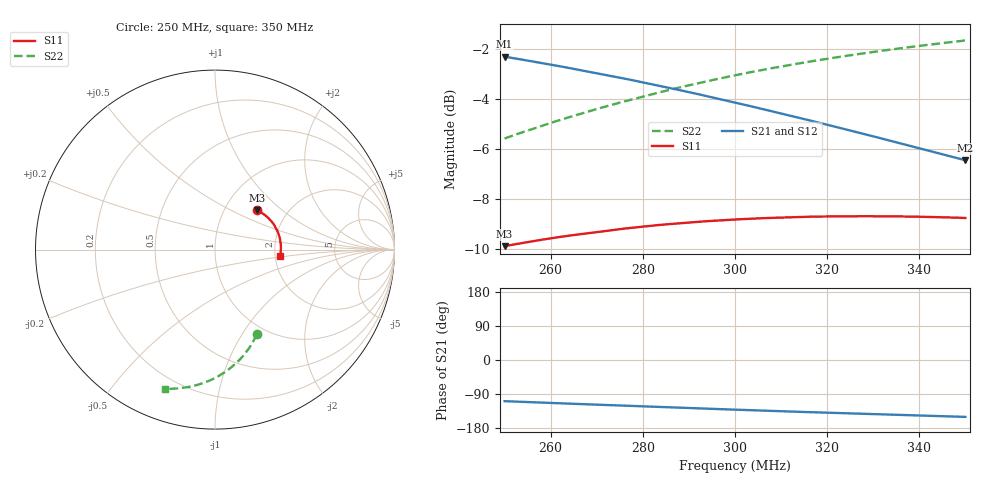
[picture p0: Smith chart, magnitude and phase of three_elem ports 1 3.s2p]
#  HZ  S  DB  R  50.00
! Rohde & Schwarz Vector Network Analyzer
! Rohde-Schwarz,ZNL3-2Port,1323001203101687,1.37.1.9-20.11.2.22
! Created: UTC 11/14/2023, 4:00:15 PM
! freq[Hz]  db:S11  ang:S11  db:S21  ang:S21  db:S12  ang:S12  db:S22  ang:S22
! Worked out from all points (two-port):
!   801 points, 250 MHz to 350 MHz, reference 50 ohm
!   highest |S21| = -2.33 dB at 250 MHz (marker M1); lowest = -6.5 dB at 350 MHz (marker M2)
!   |S21| within 3 dB of the highest: start of sweep to 326.2 MHz
!   lowest |S11| = -9.9 dB at 250 MHz (marker M3), VSWR 1.94, Z = 70.6 + j34.5 ohm
!   |S11| at or under -10 dB: nowhere
!   |S22| runs from -5.6 to -1.7 dB; largest |S21 - S12| = 0.0057
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2.5e8  -9.88 43.2  -2.33 -108.6  -2.32 -109.0  -5.59 -63.8
2.505e8  -9.87 43.0  -2.34 -108.9  -2.34 -109.2  -5.56 -64.1
2.5375e8  -9.76 41.2  -2.44 -110.4  -2.44 -110.7  -5.35 -65.7
2.58125e8  -9.63 38.8  -2.58 -112.4  -2.58 -112.8  -5.08 -67.8
2.62125e8  -9.51 36.6  -2.71 -114.3  -2.71 -114.6  -4.85 -69.8
2.6675e8  -9.40 34.2  -2.87 -116.4  -2.87 -116.8  -4.59 -72.1
2.71125e8  -9.29 31.9  -3.02 -118.4  -3.02 -118.8  -4.36 -74.2
2.75625e8  -9.19 29.6  -3.18 -120.4  -3.18 -120.8  -4.13 -76.4
2.83375e8  -9.04 25.6  -3.48 -123.9  -3.47 -124.3  -3.76 -80.2
2.91375e8  -8.92 21.5  -3.80 -127.4  -3.79 -127.8  -3.41 -84.0
2.9575e8  -8.87 19.3  -3.98 -129.3  -3.97 -129.7  -3.23 -86.1
3e8  -8.82 17.2  -4.15 -131.0  -4.15 -131.5  -3.07 -88.0
3.0425e8  -8.78 15.1  -4.34 -132.8  -4.33 -133.2  -2.91 -90.0
3.085e8  -8.75 13.1  -4.52 -134.6  -4.51 -135.0  -2.77 -91.9
3.12875e8  -8.72 11.0  -4.72 -136.3  -4.71 -136.8  -2.62 -93.9
3.1675e8  -8.71 9.2  -4.89 -137.9  -4.88 -138.3  -2.51 -95.6
3.24625e8  -8.69 5.5  -5.25 -140.9  -5.24 -141.4  -2.28 -99.0
3.28625e8  -8.69 3.7  -5.44 -142.4  -5.43 -143.0  -2.17 -100.8
3.33375e8  -8.69 1.7  -5.66 -144.2  -5.65 -144.8  -2.05 -102.8
3.41375e8  -8.72 -1.8  -6.04 -147.1  -6.03 -147.7  -1.86 -106.1
3.495e8  -8.76 -5.1  -6.43 -149.9  -6.42 -150.6  -1.69 -109.4
3.5e8  -8.76 -5.3  -6.46 -150.1  -6.44 -150.7  -1.68 -109.6
